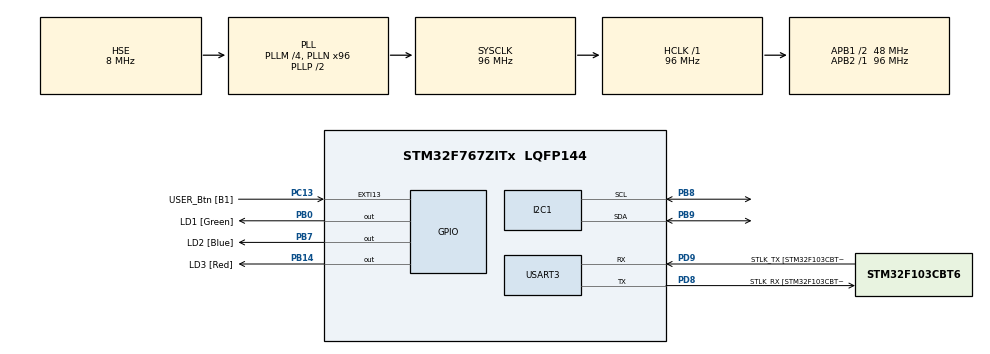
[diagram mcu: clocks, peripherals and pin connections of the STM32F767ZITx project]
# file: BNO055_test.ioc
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CORTEX_M7.default_mode_Activation=1
I2C1.Timing=0x20303E5D
Mcu.Family=STM32F7
Mcu.Name=STM32F767ZITx
Mcu.Package=LQFP144
NVIC.PriorityGroup=NVIC_PRIORITYGROUP_4
NVIC.USART3_IRQn=true\:0\:0\:false\:false\:true\:true\:true\:true
PA13.GPIO_Label=TMS
PA13.Mode=Serial_Wire
PA13.Signal=SYS_JTMS-SWDIO
PA14.GPIO_Label=TCK
PA14.Mode=Serial_Wire
PA14.Signal=SYS_JTCK-SWCLK
PB0.GPIO_Label=LD1 [Green]
PB0.Signal=GPIO_Output
PB14.GPIO_Label=LD3 [Red]
PB14.Signal=GPIO_Output
PB3.GPIO_Label=SWO
PB3.Signal=SYS_JTDO-SWO
PB7.GPIO_Label=LD2 [Blue]
PB7.Signal=GPIO_Output
PB8.Mode=I2C
PB8.Signal=I2C1_SCL
PB9.Mode=I2C
PB9.Signal=I2C1_SDA
PC13.GPIO_Label=USER_Btn [B1]
PC13.Signal=GPXTI13
PC14/OSC32_IN.Mode=LSE-External-Oscillator
PC14/OSC32_IN.Signal=RCC_OSC32_IN
PC15/OSC32_OUT.Mode=LSE-External-Oscillator
PC15/OSC32_OUT.Signal=RCC_OSC32_OUT
PD8.GPIO_Label=STLK_RX [STM32F103CBT6_PA3]
PD8.Mode=Asynchronous
PD8.Signal=USART3_TX
PD9.GPIO_Label=STLK_TX [STM32F103CBT6_PA2]
PD9.Mode=Asynchronous
PD9.Signal=USART3_RX
PH0/OSC_IN.GPIO_Label=MCO [STM32F103CBT6_PA8]
PH0/OSC_IN.Mode=HSE-External-Clock-Source
PH0/OSC_IN.Signal=RCC_OSC_IN
PH1/OSC_OUT.Mode=HSE-External-Clock-Source
PH1/OSC_OUT.Signal=RCC_OSC_OUT
ProjectManager.HeapSize=0x200
ProjectManager.StackSize=0x400
ProjectManager.TargetToolchain=STM32CubeIDE
RCC.48MHZClocksFreq_Value=24000000
RCC.AHBFreq_Value=96000000
RCC.APB1CLKDivider=RCC_HCLK_DIV2
RCC.APB1Freq_Value=48000000
RCC.APB1TimFreq_Value=96000000
RCC.APB2Freq_Value=96000000
RCC.APB2TimFreq_Value=96000000
RCC.CortexFreq_Value=96000000
RCC.HCLKFreq_Value=96000000
RCC.HSE_VALUE=8000000
RCC.HSI_VALUE=16000000
RCC.PLLM=4
RCC.PLLMUL=RCC_PLL_MUL9
RCC.PLLN=96
RCC.PLLQ=4
RCC.PLLSourceVirtual=RCC_PLLSOURCE_HSE
RCC.PRESCALERUSB=RCC_USBCLKSOURCE_PLL_DIV1_5
RCC.SYSCLKFreq_VALUE=96000000
RCC.SYSCLKSource=RCC_SYSCLKSOURCE_PLLCLK
RCC.SYSCLKSourceVirtual=RCC_SYSCLKSOURCE_PLLCLK
RCC.USBFreq_Value=48000000
RCC.VCOOutputFreq_Value=192000000
USART3.VirtualMode-Asynchronous=VM_ASYNC
board=NUCLEO-F767ZI

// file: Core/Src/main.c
/* USER CODE BEGIN Header */
/**
  ******************************************************************************
  * @file           : main.c
  * @brief          : Main program body
  ******************************************************************************
  * @attention
  *
  * Copyright (c) 2026 STMicroelectronics.
  * All rights reserved.
  *
  * This software is licensed under terms that can be found in the LICENSE file
  * in the root directory of this software component.
  * If no LICENSE file comes with this software, it is provided AS-IS.
  *
  ******************************************************************************
  */
/* USER CODE END Header */
#include "main.h"
#include "BNO055_STM32.h"

/* USER CODE BEGIN PD */
#define CALIB_ADDR  ((uint32_t)0x081C0000)   // Sector 11 시작 (단일뱅크 F767)
/* USER CODE END PD */

I2C_HandleTypeDef hi2c1;

UART_HandleTypeDef huart3;

/* USER CODE BEGIN PV */
BNO055_Init_t bno055_init = {
		UNIT_ACC_MS2 | UNIT_GYRO_DPS | UNIT_EUL_DEG | UNIT_TEMP_CELCIUS,
		DEFAULT_AXIS_REMAP,
		DEFAULT_AXIS_SIGN,
		BNO055_NORMAL_MODE,
		NDOF,
		CLOCK_EXTERNAL,
		Range_2G
};

BNO055_Sensors_t bno055_sensor_data;

float agv_yaw = 0.0f;
/* USER CODE END PV */

void SystemClock_Config(void);
static void MPU_Config(void);
static void MX_GPIO_Init(void);
static void MX_I2C1_Init(void);
static void MX_USART3_UART_Init(void);

/* USER CODE BEGIN 0 */
int _write(int file, char *ptr, int len)
{
    HAL_UART_Transmit(&huart3, (uint8_t*) ptr, len, HAL_MAX_DELAY);
    return len;
}

// 캘리브레이션 22바이트를 Flash에 저장
void Calib_Save(uint8_t *offset)   // getSensorOffsets()로 받은 22바이트
{
    HAL_FLASH_Unlock();

    FLASH_EraseInitTypeDef erase;
    uint32_t err = 0;
    erase.TypeErase    = FLASH_TYPEERASE_SECTORS;
    erase.VoltageRange = FLASH_VOLTAGE_RANGE_3;
    erase.Sector       = FLASH_SECTOR_11;
    erase.NbSectors    = 1;
    HAL_FLASHEx_Erase(&erase, &err);

    // 22바이트를 1바이트씩 써넣음 (F767은 바이트 쓰기 지원)
    for (int i = 0; i < 22; i++) {
        HAL_FLASH_Program(FLASH_TYPEPROGRAM_BYTE, CALIB_ADDR + i, offset[i]);
    }

    HAL_FLASH_Lock();
}

// Flash에서 캘리브레이션 22바이트를 읽음
void Calib_Load(uint8_t *offset)
{
    for (int i = 0; i < 22; i++) {
        offset[i] = *(uint8_t *)(CALIB_ADDR + i);   // Flash는 주소로 직접 읽기
    }
}
/* USER CODE END 0 */

int main(void)
{

  /* MPU Configuration--------------------------------------------------------*/
  MPU_Config();

  /* MCU Configuration--------------------------------------------------------*/

  /* Reset of all peripherals, Initializes the Flash interface and the Systick. */
  HAL_Init();

  /* Configure the system clock */
  SystemClock_Config();

  /* Initialize all configured peripherals */
  MX_GPIO_Init();
  MX_I2C1_Init();
  MX_USART3_UART_Init();
  /* USER CODE BEGIN 2 */
  /* USER CODE BEGIN 2 */
  uint8_t offset[22];

  printf("--- BNO055 Calibration Tool Start ---\r\n");

  // 1. 센서 초기화
  BNO055_Init(bno055_init);
  printf("Please move the sensor (figure 8, rotate, etc)...\r\n");

  // 2. 캘리브레이션이 완료될 때까지 대기 (while 루프 활용)
  // Calibrate_BNO055() 함수가 내부적으로 센서 상태(Sys, Gyro, Accel, Mag)가
  // 모두 3(Fully Calibrated)이 될 때까지 기다리거나, 상태를 반환한다고 가정합니다.
  while (!Calibrate_BNO055()) {
      // (선택) 진행 중임을 알리는 LED 깜빡임
      HAL_GPIO_TogglePin(GPIOB, LD2_Pin);
      HAL_Delay(100);
  }

  // 3. 캘리브레이션 성공 시, 오프셋 읽기 및 플래시 저장
  printf("Calibration Success! Saving to Flash...\r\n");
  getSensorOffsets(offset);
  Calib_Save(offset);

  // 4. (검증 단계) 플래시에서 다시 읽어와서 제대로 써졌는지 확인
  uint8_t verify_offset[22];
  Calib_Load(verify_offset);

  if (verify_offset[0] == offset[0]) { // 간단한 검증
      printf("Flash Save Verified! Done.\r\n");
  } else {
      printf("Flash Save Failed...\r\n");
  }

  printf("You can now flash the Main Application.\r\n");
    /* USER CODE END 2 */
  /* USER CODE END 2 */

  /* Infinite loop */
  /* USER CODE BEGIN WHILE */
  while (1)
  {
	  ReadData(&bno055_sensor_data, SENSOR_EULER);
	  agv_yaw = bno055_sensor_data.Euler.X;

	  printf("yaw = %4.1fdeg\r\n", agv_yaw);
	  HAL_Delay(100);
    /* USER CODE END WHILE */

  }
}

void SystemClock_Config(void)
{
  RCC_OscInitTypeDef RCC_OscInitStruct = {0};
  RCC_ClkInitTypeDef RCC_ClkInitStruct = {0};

  /** Configure LSE Drive Capability
  */
  HAL_PWR_EnableBkUpAccess();

  /** Configure the main internal regulator output voltage
  */
  __HAL_RCC_PWR_CLK_ENABLE();
  __HAL_PWR_VOLTAGESCALING_CONFIG(PWR_REGULATOR_VOLTAGE_SCALE3);

  /** Initializes the RCC Oscillators according to the specified parameters
  * in the RCC_OscInitTypeDef structure.
  */
  RCC_OscInitStruct.OscillatorType = RCC_OSCILLATORTYPE_HSE;
  RCC_OscInitStruct.HSEState = RCC_HSE_BYPASS;
  RCC_OscInitStruct.PLL.PLLState = RCC_PLL_ON;
  RCC_OscInitStruct.PLL.PLLSource = RCC_PLLSOURCE_HSE;
  RCC_OscInitStruct.PLL.PLLM = 4;
  RCC_OscInitStruct.PLL.PLLN = 96;
  RCC_OscInitStruct.PLL.PLLP = RCC_PLLP_DIV2;
  RCC_OscInitStruct.PLL.PLLQ = 4;
  RCC_OscInitStruct.PLL.PLLR = 2;
  if (HAL_RCC_OscConfig(&RCC_OscInitStruct) != HAL_OK)
  {
    Error_Handler();
  }

  /** Activate the Over-Drive mode
  */
  if (HAL_PWREx_EnableOverDrive() != HAL_OK)
  {
    Error_Handler();
  }

  /** Initializes the CPU, AHB and APB buses clocks
  */
  RCC_ClkInitStruct.ClockType = RCC_CLOCKTYPE_HCLK|RCC_CLOCKTYPE_SYSCLK
                              |RCC_CLOCKTYPE_PCLK1|RCC_CLOCKTYPE_PCLK2;
  RCC_ClkInitStruct.SYSCLKSource = RCC_SYSCLKSOURCE_PLLCLK;
  RCC_ClkInitStruct.AHBCLKDivider = RCC_SYSCLK_DIV1;
  RCC_ClkInitStruct.APB1CLKDivider = RCC_HCLK_DIV2;
  RCC_ClkInitStruct.APB2CLKDivider = RCC_HCLK_DIV1;

  if (HAL_RCC_ClockConfig(&RCC_ClkInitStruct, FLASH_LATENCY_3) != HAL_OK)
  {
    Error_Handler();
  }
}

static void MX_I2C1_Init(void)
{

  hi2c1.Instance = I2C1;
  hi2c1.Init.Timing = 0x20303E5D;
  hi2c1.Init.OwnAddress1 = 0;
  hi2c1.Init.AddressingMode = I2C_ADDRESSINGMODE_7BIT;
  hi2c1.Init.DualAddressMode = I2C_DUALADDRESS_DISABLE;
  hi2c1.Init.OwnAddress2 = 0;
  hi2c1.Init.OwnAddress2Masks = I2C_OA2_NOMASK;
  hi2c1.Init.GeneralCallMode = I2C_GENERALCALL_DISABLE;
  hi2c1.Init.NoStretchMode = I2C_NOSTRETCH_DISABLE;
  if (HAL_I2C_Init(&hi2c1) != HAL_OK)
  {
    Error_Handler();
  }

  /** Configure Analogue filter
  */
  if (HAL_I2CEx_ConfigAnalogFilter(&hi2c1, I2C_ANALOGFILTER_ENABLE) != HAL_OK)
  {
    Error_Handler();
  }

  /** Configure Digital filter
  */
  if (HAL_I2CEx_ConfigDigitalFilter(&hi2c1, 0) != HAL_OK)
  {
    Error_Handler();
  }

}

static void MX_USART3_UART_Init(void)
{

  huart3.Instance = USART3;
  huart3.Init.BaudRate = 115200;
  huart3.Init.WordLength = UART_WORDLENGTH_8B;
  huart3.Init.StopBits = UART_STOPBITS_1;
  huart3.Init.Parity = UART_PARITY_NONE;
  huart3.Init.Mode = UART_MODE_TX_RX;
  huart3.Init.HwFlowCtl = UART_HWCONTROL_NONE;
  huart3.Init.OverSampling = UART_OVERSAMPLING_16;
  huart3.Init.OneBitSampling = UART_ONE_BIT_SAMPLE_DISABLE;
  huart3.AdvancedInit.AdvFeatureInit = UART_ADVFEATURE_NO_INIT;
  if (HAL_UART_Init(&huart3) != HAL_OK)
  {
    Error_Handler();
  }

}

static void MX_GPIO_Init(void)
{
  GPIO_InitTypeDef GPIO_InitStruct = {0};

  /* GPIO Ports Clock Enable */
  __HAL_RCC_GPIOC_CLK_ENABLE();
  __HAL_RCC_GPIOH_CLK_ENABLE();
  __HAL_RCC_GPIOB_CLK_ENABLE();
  __HAL_RCC_GPIOD_CLK_ENABLE();
  __HAL_RCC_GPIOA_CLK_ENABLE();

  /*Configure GPIO pin Output Level */
  HAL_GPIO_WritePin(GPIOB, LD1_Pin|LD3_Pin|LD2_Pin, GPIO_PIN_RESET);

  /*Configure GPIO pin : USER_Btn_Pin */
  GPIO_InitStruct.Pin = USER_Btn_Pin;
  GPIO_InitStruct.Mode = GPIO_MODE_IT_RISING;
  GPIO_InitStruct.Pull = GPIO_NOPULL;
  HAL_GPIO_Init(USER_Btn_GPIO_Port, &GPIO_InitStruct);

  /*Configure GPIO pins : LD1_Pin LD3_Pin LD2_Pin */
  GPIO_InitStruct.Pin = LD1_Pin|LD3_Pin|LD2_Pin;
  GPIO_InitStruct.Mode = GPIO_MODE_OUTPUT_PP;
  GPIO_InitStruct.Pull = GPIO_NOPULL;
  GPIO_InitStruct.Speed = GPIO_SPEED_FREQ_LOW;
  HAL_GPIO_Init(GPIOB, &GPIO_InitStruct);

}

 /* MPU Configuration */

void MPU_Config(void)
{
  MPU_Region_InitTypeDef MPU_InitStruct = {0};

  /* Disables the MPU */
  HAL_MPU_Disable();

  /** Initializes and configures the Region and the memory to be protected
  */
  MPU_InitStruct.Enable = MPU_REGION_ENABLE;
  MPU_InitStruct.Number = MPU_REGION_NUMBER0;
  MPU_InitStruct.BaseAddress = 0x0;
  MPU_InitStruct.Size = MPU_REGION_SIZE_4GB;
  MPU_InitStruct.SubRegionDisable = 0x87;
  MPU_InitStruct.TypeExtField = MPU_TEX_LEVEL0;
  MPU_InitStruct.AccessPermission = MPU_REGION_NO_ACCESS;
  MPU_InitStruct.DisableExec = MPU_INSTRUCTION_ACCESS_DISABLE;
  MPU_InitStruct.IsShareable = MPU_ACCESS_SHAREABLE;
  MPU_InitStruct.IsCacheable = MPU_ACCESS_NOT_CACHEABLE;
  MPU_InitStruct.IsBufferable = MPU_ACCESS_NOT_BUFFERABLE;

  HAL_MPU_ConfigRegion(&MPU_InitStruct);
  /* Enables the MPU */
  HAL_MPU_Enable(MPU_PRIVILEGED_DEFAULT);

}

void Error_Handler(void)
{
  __disable_irq();
  while (1)
  {
  }
}
